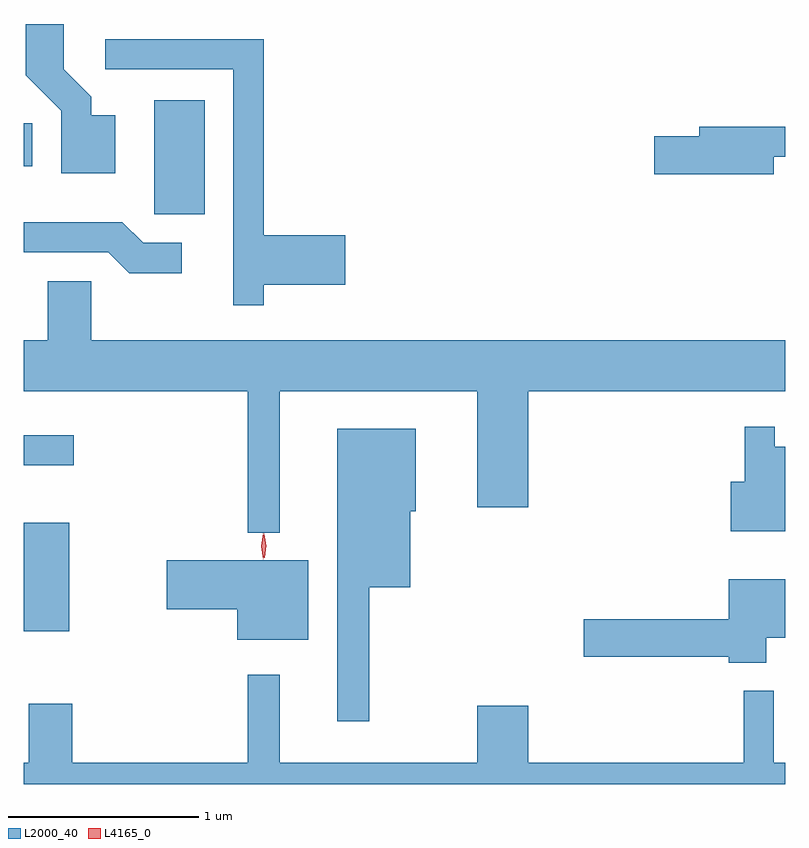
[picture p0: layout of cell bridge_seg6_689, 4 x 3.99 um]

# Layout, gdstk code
import gdstk
lib = gdstk.Library(unit=1e-6, precision=1e-09)
def R(c, l, rs):  # rectangles x0, y0, x1, y1
    for r in rs: c.add(gdstk.rectangle(r[:2], r[2:], *l))
def P(c, l, *ps):  # polygons
    for p in ps: c.add(gdstk.Polygon(p, *l))
L2000_40 = (2000, 40)
L4165_0 = (4165, 0)

bridge_seg6_689 = lib.new_cell('bridge_seg6_689')
R(bridge_seg6_689, L2000_40, [(212.694,1535.456,212.934,1536.024), (212.694,1536.326,212.958,1536.484), (213.381,1537.646,213.644,1538.244), (212.694,1537.896,212.739,1538.124)])
P(bridge_seg6_689, L2000_40, [(213.174,1538.164),(213.049,1538.164),(213.049,1538.262),(212.904,1538.407),(212.904,1538.644),(212.706,1538.644),(212.706,1538.374),(212.891,1538.189),(212.891,1537.861),(213.174,1537.861)],
  [(213.954,1537.276),(214.384,1537.276),(214.384,1537.534),(213.954,1537.534),(213.954,1538.564),(213.123,1538.564),(213.123,1538.406),(213.796,1538.406),(213.796,1537.168),(213.954,1537.168)],
  [(216.634,1537.946),(216.694,1537.946),(216.694,1538.104),(216.241,1538.104),(216.241,1538.054),(216.006,1538.054),(216.006,1537.856),(216.634,1537.856)],
  [(213.523,1537.494),(213.322,1537.494),(213.212,1537.604),(212.694,1537.604),(212.694,1537.446),(213.139,1537.446),(213.249,1537.336),(213.523,1537.336)],
  [(214.039,1536.716),(215.076,1536.716),(215.076,1536.106),(215.344,1536.106),(215.344,1536.716),(216.694,1536.716),(216.694,1536.984),(213.049,1536.984),(213.049,1537.294),(212.821,1537.294),(212.821,1536.984),(212.694,1536.984),(212.694,1536.716),(213.871,1536.716),(213.871,1535.973),(214.039,1535.973)],
  [(216.694,1536.424),(216.639,1536.424),(216.639,1536.528),(216.481,1536.528),(216.481,1536.239),(216.406,1536.239),(216.406,1535.981),(216.694,1535.981)],
  [(214.509,1535.686),(214.724,1535.686),(214.724,1536.086),(214.754,1536.086),(214.754,1536.519),(214.341,1536.519),(214.341,1534.983),(214.509,1534.983)],
  [(214.189,1535.829),(213.446,1535.829),(213.446,1535.571),(213.816,1535.571),(213.816,1535.411),(214.189,1535.411)],
  [(216.594,1535.421),(216.694,1535.421),(216.694,1535.729),(216.396,1535.729),(216.396,1535.519),(215.636,1535.519),(215.636,1535.321),(216.396,1535.321),(216.396,1535.291),(216.594,1535.291)],
  [(216.694,1534.764),(216.634,1534.764),(216.634,1535.143),(216.476,1535.143),(216.476,1534.764),(215.344,1534.764),(215.344,1535.064),(215.076,1535.064),(215.076,1534.764),(214.039,1534.764),(214.039,1535.228),(213.871,1535.228),(213.871,1534.764),(212.949,1534.764),(212.949,1535.074),(212.721,1535.074),(212.721,1534.764),(212.694,1534.764),(212.694,1534.653),(216.694,1534.653)])
P(bridge_seg6_689, L4165_0, [(213.958,1535.84),(213.958,1535.84),(213.948,1535.904),(213.957,1535.966),(213.958,1535.967),(213.958,1535.966),(213.968,1535.904),(213.959,1535.84)],
  [(213.952,1535.834),(213.952,1535.834),(213.942,1535.902),(213.952,1535.97),(213.952,1535.97),(213.953,1535.97),(213.962,1535.902),(213.953,1535.834)])

lib.write_gds('bridge_seg6_689.gds')
